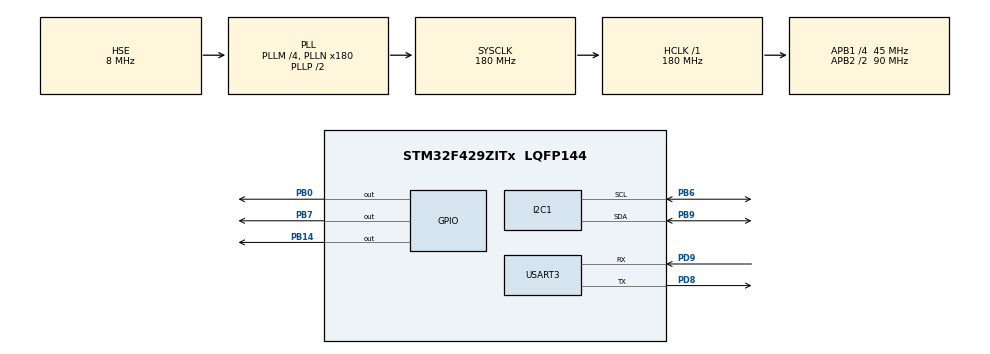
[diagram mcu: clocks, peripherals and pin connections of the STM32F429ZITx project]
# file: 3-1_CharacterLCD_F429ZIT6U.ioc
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Mcu.Family=STM32F4
Mcu.Name=STM32F429ZITx
Mcu.Package=LQFP144
NVIC.PriorityGroup=NVIC_PRIORITYGROUP_4
NVIC.USART3_IRQn=true\:0\:0\:false\:false\:true\:true\:true
PB0.Signal=GPIO_Output
PB14.Signal=GPIO_Output
PB6.Mode=I2C
PB6.Signal=I2C1_SCL
PB7.Signal=GPIO_Output
PB9.Mode=I2C
PB9.Signal=I2C1_SDA
PD8.Mode=Asynchronous
PD8.Signal=USART3_TX
PD9.Mode=Asynchronous
PD9.Signal=USART3_RX
PH0/OSC_IN.Mode=HSE-External-Oscillator
PH0/OSC_IN.Signal=RCC_OSC_IN
PH1/OSC_OUT.Mode=HSE-External-Oscillator
PH1/OSC_OUT.Signal=RCC_OSC_OUT
ProjectManager.HeapSize=0x200
ProjectManager.StackSize=0x400
ProjectManager.TargetToolchain=STM32CubeIDE
RCC.48MHZClocksFreq_Value=90000000
RCC.AHBFreq_Value=180000000
RCC.APB1CLKDivider=RCC_HCLK_DIV4
RCC.APB1Freq_Value=45000000
RCC.APB1TimFreq_Value=90000000
RCC.APB2CLKDivider=RCC_HCLK_DIV2
RCC.APB2Freq_Value=90000000
RCC.APB2TimFreq_Value=180000000
RCC.CortexFreq_Value=180000000
RCC.HCLKFreq_Value=180000000
RCC.HSE_VALUE=8000000
RCC.HSI_VALUE=16000000
RCC.LSE_VALUE=32768
RCC.PLLM=4
RCC.PLLN=180
RCC.PLLSourceVirtual=RCC_PLLSOURCE_HSE
RCC.SYSCLKFreq_VALUE=180000000
RCC.SYSCLKSource=RCC_SYSCLKSOURCE_PLLCLK
RCC.VCOOutputFreq_Value=360000000
USART3.VirtualMode=VM_ASYNC
board=custom

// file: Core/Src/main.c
/* USER CODE BEGIN Header */
/**
  ******************************************************************************
  * @file           : main.c
  * @brief          : Main program body
  ******************************************************************************
  * @attention
  *
  * Copyright (c) 2022 STMicroelectronics.
  * All rights reserved.
  *
  * This software is licensed under terms that can be found in the LICENSE file
  * in the root directory of this software component.
  * If no LICENSE file comes with this software, it is provided AS-IS.
  *
  ******************************************************************************
  */
/* USER CODE END Header */
#include "main.h"
#include "i2c.h"
#include "usart.h"
#include "gpio.h"

/* USER CODE BEGIN Includes */
#include <stdio.h>
#include "i2c-lcd.h"
/* USER CODE END Includes */

/* USER CODE BEGIN PD */
#define RX__BUFF_SIZE 5
/* USER CODE END PD */

/* USER CODE BEGIN PV */
//uint8_t rx3_data;
uint8_t rx3_data[RX__BUFF_SIZE];
/* USER CODE END PV */

void SystemClock_Config(void);
/* USER CODE BEGIN PFP */
int _write(int file, uint8_t* p, int len)
{
	if(HAL_UART_Transmit(&huart3, p, len, 10) == HAL_OK) return len;
	else return 0;
	//HAL_UART_Transmit(&huart3, p, len, 10);
	//return len;
}
/* USER CODE END PFP */

int main(void)
{

  /* MCU Configuration--------------------------------------------------------*/

  /* Reset of all peripherals, Initializes the Flash interface and the Systick. */
  HAL_Init();

  /* Configure the system clock */
  SystemClock_Config();

  /* Initialize all configured peripherals */
  MX_GPIO_Init();
  MX_USART3_UART_Init();
  MX_I2C1_Init();
  /* USER CODE BEGIN 2 */
  //HAL_UART_Receive_IT(&huart3, &rx3_data, 1);
  lcd_init();	//lcd 초기화
  HAL_UART_Receive_IT(&huart3, rx3_data, RX__BUFF_SIZE);

  lcd_clear();
  lcd_put_cur(0, 0);
  lcd_send_string("HELLO WORLD");
  HAL_Delay(1000);
  lcd_put_cur(1, 0);
  lcd_send_string("LIM DONG HEE");
  HAL_Delay(2000);
  lcd_clear();
  /* USER CODE END 2 */

  /* Infinite loop */
  /* USER CODE BEGIN WHILE */
  //uint32_t a = 0;
  float f = 0.0;
  int8_t str[50];	// uint8_t -> int8_t
  while (1)
  {
	  sprintf((char*)str, "%.1f", f);		// signed Occured
	  lcd_put_cur(0, 0);
	  lcd_send_string("TimeGone : ");
	  lcd_put_cur(0, 11);
	  HAL_GPIO_WritePin(GPIOB, GPIO_PIN_0, GPIO_PIN_SET);
	  f += 0.5;
	  sprintf((char*)str, "%.1f", f);
	  HAL_Delay(500);
	  lcd_send_string((char*)str);
	  HAL_GPIO_WritePin(GPIOB, GPIO_PIN_0, GPIO_PIN_RESET);
	  HAL_Delay(500);
	  f += 0.5;

	  if(f == 600){
		  f = 0;
	  }
    /* USER CODE END WHILE */

  }
}

void SystemClock_Config(void)
{
  RCC_OscInitTypeDef RCC_OscInitStruct = {0};
  RCC_ClkInitTypeDef RCC_ClkInitStruct = {0};

  /** Configure the main internal regulator output voltage
  */
  __HAL_RCC_PWR_CLK_ENABLE();
  __HAL_PWR_VOLTAGESCALING_CONFIG(PWR_REGULATOR_VOLTAGE_SCALE1);
  /** Initializes the RCC Oscillators according to the specified parameters
  * in the RCC_OscInitTypeDef structure.
  */
  RCC_OscInitStruct.OscillatorType = RCC_OSCILLATORTYPE_HSE;
  RCC_OscInitStruct.HSEState = RCC_HSE_ON;
  RCC_OscInitStruct.PLL.PLLState = RCC_PLL_ON;
  RCC_OscInitStruct.PLL.PLLSource = RCC_PLLSOURCE_HSE;
  RCC_OscInitStruct.PLL.PLLM = 4;
  RCC_OscInitStruct.PLL.PLLN = 180;
  RCC_OscInitStruct.PLL.PLLP = RCC_PLLP_DIV2;
  RCC_OscInitStruct.PLL.PLLQ = 4;
  if (HAL_RCC_OscConfig(&RCC_OscInitStruct) != HAL_OK)
  {
    Error_Handler();
  }
  /** Activate the Over-Drive mode
  */
  if (HAL_PWREx_EnableOverDrive() != HAL_OK)
  {
    Error_Handler();
  }
  /** Initializes the CPU, AHB and APB buses clocks
  */
  RCC_ClkInitStruct.ClockType = RCC_CLOCKTYPE_HCLK|RCC_CLOCKTYPE_SYSCLK
                              |RCC_CLOCKTYPE_PCLK1|RCC_CLOCKTYPE_PCLK2;
  RCC_ClkInitStruct.SYSCLKSource = RCC_SYSCLKSOURCE_PLLCLK;
  RCC_ClkInitStruct.AHBCLKDivider = RCC_SYSCLK_DIV1;
  RCC_ClkInitStruct.APB1CLKDivider = RCC_HCLK_DIV4;
  RCC_ClkInitStruct.APB2CLKDivider = RCC_HCLK_DIV2;

  if (HAL_RCC_ClockConfig(&RCC_ClkInitStruct, FLASH_LATENCY_5) != HAL_OK)
  {
    Error_Handler();
  }
}

/* USER CODE BEGIN 4 */
void HAL_UART_RxCpltCallback(UART_HandleTypeDef *huart)		//
{
	if(huart->Instance == USART3)	// huart3.Instance
	{
		//HAL_UART_Receive_IT(&huart3, &rx3_data, 1);	// 1byte 받을 ?��마다 rx3_data?�� ???��
		//HAL_UART_Transmit(&huart3, &rx3_data, 1, 10);
		HAL_UART_Receive_IT(&huart3, rx3_data, RX__BUFF_SIZE);	// 5byte 받을 ?�� ?��?��, IRQHandler ?�� 1byte
		HAL_UART_Transmit(&huart3, (uint8_t *)rx3_data, RX__BUFF_SIZE, 100);
		for(int i = 0; i< RX__BUFF_SIZE; i++)
		{
			rx3_data[i] = 0;
		}
	}
}
/* USER CODE END 4 */

void Error_Handler(void)
{
  __disable_irq();
  while (1)
  {
  }
}
